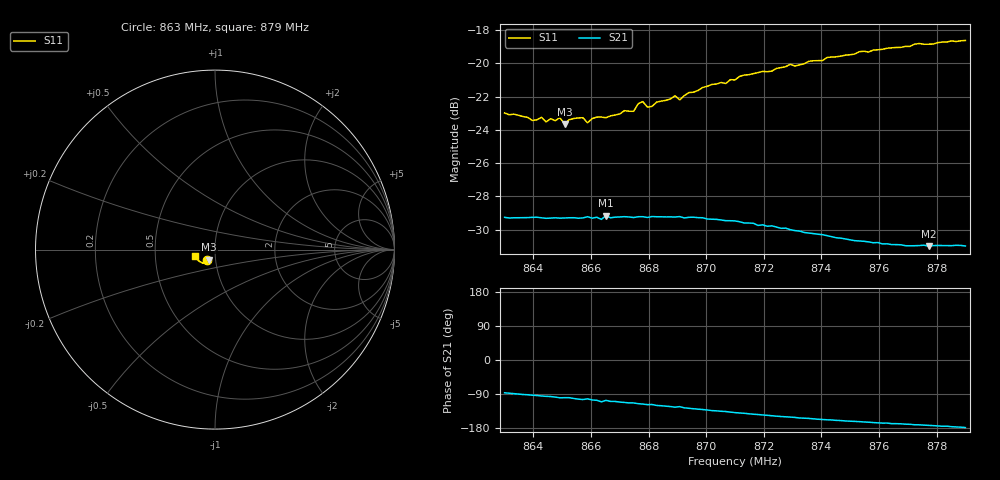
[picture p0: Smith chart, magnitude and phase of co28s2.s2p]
# HZ S RI R 50
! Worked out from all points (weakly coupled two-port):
!   101 points, 863 MHz to 879 MHz, reference 50 ohm
!   highest |S21| = -29.15 dB at 866.52 MHz (marker M1); lowest = -31.0 dB at 877.72 MHz (marker M2)
!   lowest |S11| = -23.6 dB at 865.08 MHz (marker M3), VSWR 1.14, Z = 46.5 - j5.29 ohm
!   |S11| at or under -10 dB: start of sweep to end of sweep
!   S12 and S22 are empty: the file has one direction only
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8.63e8  -0.0446 -0.0552  0.00212 -0.0344  0 0  0 0
8.6396e8  -0.0402 -0.054  -0.00176 -0.0344  0 0  0 0
8.6428e8  -0.0389 -0.0568  -0.00296 -0.0342  0 0  0 0
8.6444e8  -0.0393 -0.0539  -0.0035 -0.034  0 0  0 0
8.6492e8  -0.0375 -0.0575  -0.00584 -0.0338  0 0  0 0
8.6508e8  -0.0334 -0.0567  -0.00561 -0.0338  0 0  0 0
8.6572e8  -0.0347 -0.0592  -0.00848 -0.0333  0 0  0 0
8.6588e8  -0.0339 -0.057  -0.00749 -0.0338  0 0  0 0
8.6636e8  -0.0363 -0.0586  -0.0118 -0.0319  0 0  0 0
8.6652e8  -0.03 -0.0618  -0.00988 -0.0334  0 0  0 0
8.6748e8  -0.0324 -0.0641  -0.0136 -0.0316  0 0  0 0
8.678e8  -0.0406 -0.0651  -0.0153 -0.031  0 0  0 0
8.6796e8  -0.0358 -0.0647  -0.0161 -0.0305  0 0  0 0
8.6844e8  -0.0377 -0.0672  -0.0176 -0.0298  0 0  0 0
8.6892e8  -0.0393 -0.0696  -0.0195 -0.0285  0 0  0 0
8.6908e8  -0.0364 -0.0686  -0.0189 -0.029  0 0  0 0
8.6988e8  -0.0432 -0.0728  -0.0224 -0.026  0 0  0 0
8.71e8  -0.0495 -0.0742  -0.0253 -0.0221  0 0  0 0
8.7372e8  -0.0699 -0.074  -0.028 -0.0129  0 0  0 0
8.7644e8  -0.0934 -0.0608  -0.0279 -0.00595  0 0  0 0
8.7772e8  -0.1027 -0.05  -0.028 -0.00368  0 0  0 0
8.79e8  -0.1112 -0.0371  -0.0283 -0.000867  0 0  0 0
